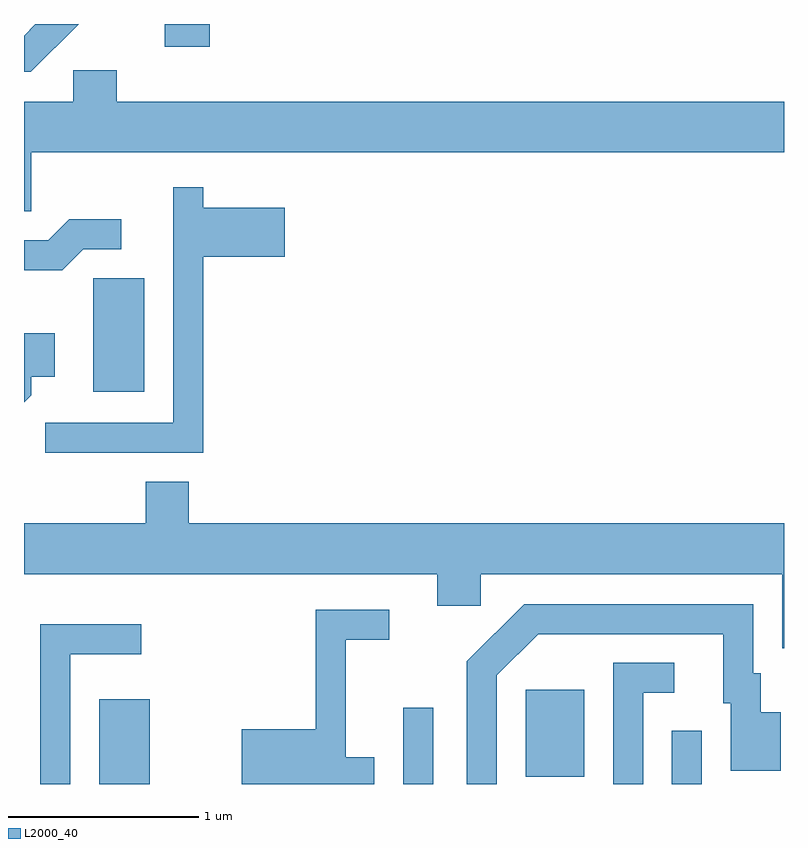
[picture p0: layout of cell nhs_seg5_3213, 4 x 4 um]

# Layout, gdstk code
import gdstk
lib = gdstk.Library(unit=1e-6, precision=1e-09)
def R(c, l, rs):  # rectangles x0, y0, x1, y1
    for r in rs: c.add(gdstk.rectangle(r[:2], r[2:], *l))
def P(c, l, *ps):  # polygons
    for p in ps: c.add(gdstk.Polygon(p, *l))
L2000_40 = (2000, 40)

nhs_seg5_3213 = lib.new_cell('nhs_seg5_3213')
R(nhs_seg5_3213, L2000_40, [(280.006,1520.072,280.274,1520.519), (281.606,1520.072,281.764,1520.473), (283.021,1520.072,283.179,1520.353), (282.251,1520.111,282.559,1520.569), (279.976,1522.136,280.244,1522.734), (280.353,1523.951,280.589,1524.072)])
P(nhs_seg5_3213, L2000_40, [(279.898,1524.072),(279.671,1524.072),(279.611,1524.011),(279.611,1523.821),(279.647,1523.821)],
  [(279.649,1523.396),(283.611,1523.396),(283.611,1523.664),(280.099,1523.664),(280.099,1523.829),(279.871,1523.829),(279.871,1523.664),(279.611,1523.664),(279.611,1523.086),(279.649,1523.086)],
  [(280.554,1522.846),(280.984,1522.846),(280.984,1523.104),(280.554,1523.104),(280.554,1523.213),(280.396,1523.213),(280.396,1521.974),(279.723,1521.974),(279.723,1521.816),(280.554,1521.816)],
  [(279.922,1522.886),(280.123,1522.886),(280.123,1523.044),(279.849,1523.044),(279.739,1522.934),(279.611,1522.934),(279.611,1522.776),(279.812,1522.776)],
  [(279.649,1522.119),(279.649,1522.216),(279.774,1522.216),(279.774,1522.444),(279.611,1522.444),(279.611,1522.081)],
  [(283.611,1521.444),(280.479,1521.444),(280.479,1521.664),(280.251,1521.664),(280.251,1521.444),(279.611,1521.444),(279.611,1521.176),(281.786,1521.176),(281.786,1521.011),(282.014,1521.011),(282.014,1521.176),(283.601,1521.176),(283.601,1520.786),(283.611,1520.786)],
  [(282.099,1520.644),(282.317,1520.861),(283.291,1520.861),(283.291,1520.496),(283.331,1520.496),(283.331,1520.141),(283.594,1520.141),(283.594,1520.449),(283.489,1520.449),(283.489,1520.654),(283.449,1520.654),(283.449,1521.019),(282.244,1521.019),(281.941,1520.717),(281.941,1520.072),(282.099,1520.072)],
  [(281.454,1520.214),(281.304,1520.214),(281.304,1520.831),(281.533,1520.831),(281.533,1520.989),(281.146,1520.989),(281.146,1520.359),(280.756,1520.359),(280.756,1520.072),(281.454,1520.072)],
  [(279.854,1520.756),(280.228,1520.756),(280.228,1520.914),(279.696,1520.914),(279.696,1520.072),(279.854,1520.072)],
  [(282.869,1520.551),(283.033,1520.551),(283.033,1520.709),(282.711,1520.709),(282.711,1520.072),(282.869,1520.072)])

lib.write_gds('nhs_seg5_3213.gds')
